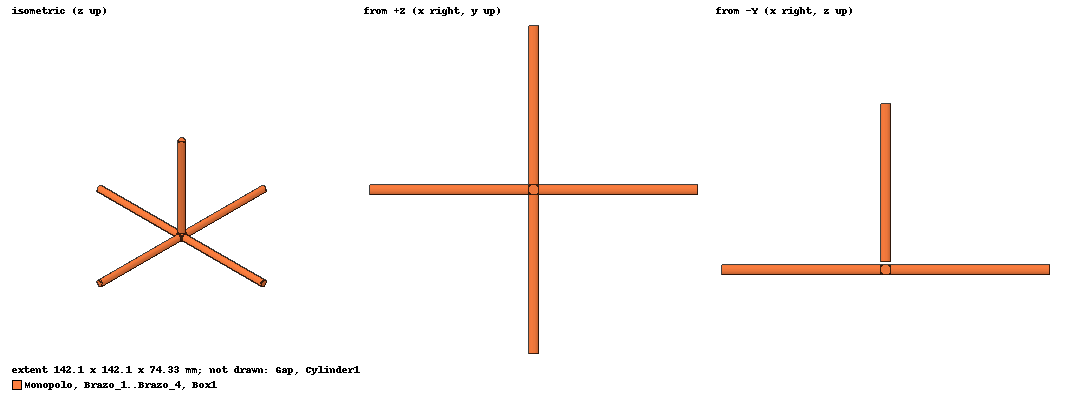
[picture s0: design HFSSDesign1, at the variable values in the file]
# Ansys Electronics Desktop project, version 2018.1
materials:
  vacuum: permittivity=1
  copper: permeability=0.999991 conductivity=58000000

design HFSSDesign1 (HFSS, DrivenModal, model units mm)
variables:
  lambda = 275mm
  largo = lambda/4
  radio = largo/30
  brazos = 8
  gap = 1mm
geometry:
  Monopolo [copper] = cylinder(axis=Z, base_centre=(0mm, 0mm, radio+gap), radius=radio, height=largo)
  Brazo_1 [copper] = cylinder(axis=X, base_centre=(radio, 0mm, 0mm), radius=radio, height=largo)
  Brazo_2 [copper] = cylinder(axis=X, base_centre=(-largo-radio, 0mm, 0mm), radius=radio, height=largo)
  Brazo_3 [copper] = cylinder(axis=Y, base_centre=(0mm, radio, 0mm), radius=radio, height=largo)
  Brazo_4 [copper] = cylinder(axis=Y, base_centre=(0mm, -largo-radio, 0mm), radius=radio, height=largo)
  Gap [vacuum] = cylinder(axis=Z, base_centre=(0mm, 0mm, radio), radius=radio, height=gap)
  Gap_Section1 = Gap.section(plane=YZ)
  Box1 [copper] = box(corner=(-radio, -radio, -radio), size=(radio*2, radio*2, radio*2))
  Cylinder1 [vacuum] = cylinder(axis=Z, base_centre=(0mm, 0mm, -lambda/4), radius=largo+lambda/8, height=largo+lambda/2)
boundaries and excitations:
  Rad1: Radiation Objects=Cylinder1
  1: Lumped Port Objects=Gap_Section1 Modes{Mode1{IntLine{middle of Gap_Section1.edge(at (0, 0, 3.29167)) -> middle of Gap_Section1.edge(at (0, 0, 2.29167))} CharImp=Zpi RenormImp=50ohm}} Impedance=50ohm
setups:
  Setup1: HfssDriven Frequency=1090MHz MaxDeltaS=0.02 MaximumPasses=6 MinimumPasses=1 MinimumConvergedPasses=1 PercentRefinement=30 BasisOrder=1 PortAccuracy=2
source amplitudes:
  1:1: 1W 0deg
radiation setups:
  Infinite Sphere1: Infinite Sphere Theta=0deg..180deg step 2deg Phi=-180deg..180deg step 2deg
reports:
  Gain Plot 1: GainTotal vs Phi, Theta on Setup1 : LastAdaptive, Infinite Sphere1 [Freq=1.09GHz]
  Gain Plot 2: GainTotal vs Theta on Setup1 : LastAdaptive, Infinite Sphere1 [Phi=all Freq=1.09GHz]
